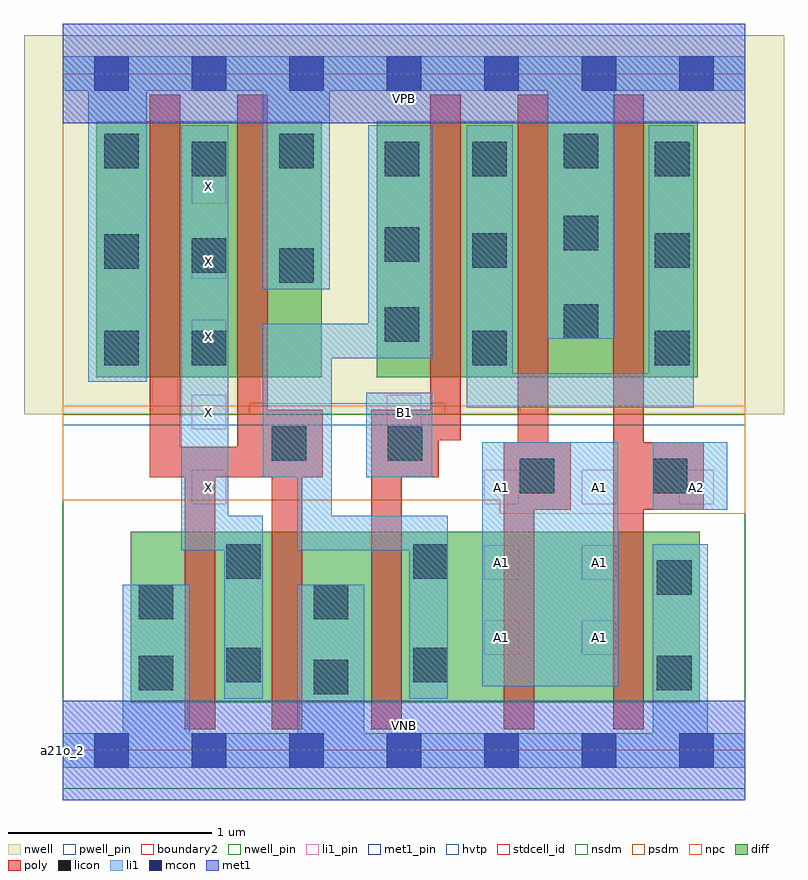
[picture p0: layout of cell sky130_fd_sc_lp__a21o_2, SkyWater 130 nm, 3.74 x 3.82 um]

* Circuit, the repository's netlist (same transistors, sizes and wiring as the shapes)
* Copyright 2020 The SkyWater PDK Authors
*
* Licensed under the Apache License, Version 2.0 (the "License");
* you may not use this file except in compliance with the License.
* You may obtain a copy of the License at
*
*     https://www.apache.org/licenses/LICENSE-2.0
*
* Unless required by applicable law or agreed to in writing, software
* distributed under the License is distributed on an "AS IS" BASIS,
* WITHOUT WARRANTIES OR CONDITIONS OF ANY KIND, either express or implied.
* See the License for the specific language governing permissions and
* limitations under the License.
*
* SPDX-License-Identifier: Apache-2.0

.SUBCKT sky130_fd_sc_lp__a21o_2 A1 A2 B1 VGND VNB VPB VPWR X
*.PININFO A1:I A2:I B1:I VGND:I VNB:I VPB:I VPWR:I X:O
MMPA0 pndA A1 VPWR VPB sky130_fd_pr__pfet_01v8_hvt m=1 w=1.26U l=0.15U mult=1 sa=0.265
+ sb=0.265 sd=0.28 area=0.063 perim=1.14
MMPA1 pndA A2 VPWR VPB sky130_fd_pr__pfet_01v8_hvt m=1 w=1.26U l=0.15U mult=1 sa=0.265
+ sb=0.265 sd=0.28 area=0.063 perim=1.14
MMPB0 y B1 pndA VPB sky130_fd_pr__pfet_01v8_hvt m=1 w=1.26U l=0.15U mult=1 sa=0.265
+ sb=0.265 sd=0.28 area=0.063 perim=1.14
MMIPX X y VPWR VPB sky130_fd_pr__pfet_01v8_hvt m=2 w=1.26U l=0.15U mult=1 sa=0.265
+ sb=0.265 sd=0.28 area=0.063 perim=1.14
MMNA0 y A1 sndA1 VNB sky130_fd_pr__nfet_01v8 m=1 w=0.84U l=0.15U mult=1 sa=0.265
+ sb=0.265 sd=0.28 area=0.063 perim=1.14
MMNA1 sndA1 A2 VGND VNB sky130_fd_pr__nfet_01v8 m=1 w=0.84U l=0.15U mult=1 sa=0.265
+ sb=0.265 sd=0.28 area=0.063 perim=1.14
MMNB0 y B1 VGND VNB sky130_fd_pr__nfet_01v8 m=1 w=0.84U l=0.15U mult=1 sa=0.265
+ sb=0.265 sd=0.28 area=0.063 perim=1.14
MMINX X y VGND VNB sky130_fd_pr__nfet_01v8 m=2 w=0.84U l=0.15U mult=1 sa=0.265
+ sb=0.265 sd=0.28 area=0.063 perim=1.14
.ENDS sky130_fd_sc_lp__a21o_2

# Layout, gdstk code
import gdstk
lib = gdstk.Library(unit=1e-6, precision=1e-09)
def R(c, l, rs):  # rectangles x0, y0, x1, y1
    for r in rs: c.add(gdstk.rectangle(r[:2], r[2:], *l))
def A(c, l, x, y, w, h, nx, ny, dx, dy):  # array of equal rectangles
    R(c, l, [(x+i*dx, y+j*dy, x+i*dx+w, y+j*dy+h) for i in range(nx) for j in range(ny)])
def P(c, l, *ps):  # polygons
    for p in ps: c.add(gdstk.Polygon(p, *l))
nwell_pin = (64, 16)
nwell = (64, 20)
diff = (65, 20)
poly = (66, 20)
licon = (66, 44)
li1_pin = (67, 16)
li1 = (67, 20)
mcon = (67, 44)
met1_pin = (68, 16)
met1 = (68, 20)
hvtp = (78, 44)
stdcell_id = (81, 4)
nsdm = (93, 44)
psdm = (94, 20)
npc = (95, 20)
pwell_pin = (122, 16)
boundary2 = (236, 0)

sky130_fd_sc_lp__a21o_2 = lib.new_cell('sky130_fd_sc_lp__a21o_2')
R(sky130_fd_sc_lp__a21o_2, nwell_pin, [(0,3.085,3.36,3.33)])
R(sky130_fd_sc_lp__a21o_2, nwell, [(-0.19,1.655,3.55,3.52)])
R(sky130_fd_sc_lp__a21o_2, diff, [(0.335,0.235,3.135,1.075), (0.165,1.835,1.275,3.095), (1.545,1.835,3.125,3.095)])
P(sky130_fd_sc_lp__a21o_2, poly, [(1.28,1.675),(1.01,1.675),(1.01,3.225),(0.86,3.225),(0.86,1.495),(0.58,1.495),(0.58,3.225),(0.43,3.225),(0.43,1.345),(0.6,1.345),(0.6,0.105),(0.75,0.105),(0.75,1.345),(1.03,1.345),(1.03,0.105),(1.18,0.105),(1.18,1.345),(1.28,1.345)],
  [(1.96,3.225),(1.81,3.225),(1.81,1.675),(1.52,1.675),(1.52,0.105),(1.67,0.105),(1.67,1.345),(1.85,1.345),(1.85,1.525),(1.96,1.525)],
  [(2.5,1.515),(2.39,1.515),(2.39,3.225),(2.24,3.225),(2.24,1.515),(2.17,1.515),(2.17,0.105),(2.32,0.105),(2.32,1.185),(2.5,1.185)],
  [(3.155,1.515),(2.86,1.515),(2.86,3.225),(2.71,3.225),(2.71,0.105),(2.86,0.105),(2.86,1.185),(3.155,1.185)])
R(sky130_fd_sc_lp__a21o_2, licon, [(1.235,0.275,1.405,0.445), (0.375,0.295,0.545,0.465), (2.925,0.295,3.095,0.465), (0.805,0.335,0.975,0.505), (1.725,0.335,1.895,0.505), (0.375,0.645,0.545,0.815), (1.235,0.645,1.405,0.815), (2.925,0.765,3.095,0.935), (0.805,0.845,0.975,1.015), (1.725,0.845,1.895,1.015), (2.25,1.265,2.42,1.435), (2.905,1.265,3.075,1.435), (1.03,1.425,1.2,1.595), (1.6,1.425,1.77,1.595), (0.205,1.895,0.375,2.065), (0.635,1.895,0.805,2.065), (2.015,1.895,2.185,2.065), (2.915,1.895,3.085,2.065), (1.585,2.01,1.755,2.18), (2.465,2.025,2.635,2.195), (1.065,2.3,1.235,2.47), (0.635,2.35,0.805,2.52), (0.205,2.37,0.375,2.54), (2.015,2.375,2.185,2.545), (2.915,2.375,3.085,2.545), (1.585,2.405,1.755,2.575), (2.465,2.46,2.635,2.63), (0.635,2.825,0.805,2.995), (1.585,2.825,1.755,2.995), (2.015,2.825,2.185,2.995), (2.915,2.825,3.085,2.995), (0.205,2.865,0.375,3.035), (1.065,2.865,1.235,3.035), (2.465,2.865,2.635,3.035)])
A(sky130_fd_sc_lp__a21o_2, li1_pin, 0.635, 1.21, 0.17, 0.17, 1, 5, 0, 0.37)
A(sky130_fd_sc_lp__a21o_2, li1_pin, 2.075, 1.21, 0.17, 0.17, 3, 1, 0.48, 0)
R(sky130_fd_sc_lp__a21o_2, li1_pin, [(2.075,0.47,2.245,0.64), (2.555,0.47,2.725,0.64), (2.075,0.84,2.245,1.01), (2.555,0.84,2.725,1.01), (1.595,1.58,1.765,1.75)])
R(sky130_fd_sc_lp__a21o_2, li1, [(2.065,0.315,2.735,1.515), (2.905,1.185,3.27,1.515), (1.495,1.345,1.82,1.76)])
P(sky130_fd_sc_lp__a21o_2, li1, [(0.985,2.27),(0.985,3.245),(0.415,3.245),(0.415,1.815),(0.125,1.815),(0.125,3.245),(0,3.245),(0,3.415),(3.36,3.415),(3.36,3.245),(2.715,3.245),(2.715,2.025),(2.385,2.025),(2.385,3.245),(1.315,3.245),(1.315,2.27)],
  [(2.905,0.085),(2.905,1.015),(3.175,1.015),(3.175,0.085),(3.36,0.085),(3.36,-0.085),(0,-0.085),(0,0.085),(0.295,0.085),(0.295,0.815),(0.625,0.815),(0.625,0.085),(1.155,0.085),(1.155,0.815),(1.485,0.815),(1.485,0.085)],
  [(0.585,0.985),(0.585,3.075),(0.815,3.075),(0.815,1.155),(0.985,1.155),(0.985,0.255),(0.795,0.255),(0.795,0.985)],
  [(2.215,1.855),(2.885,1.855),(2.885,3.075),(3.105,3.075),(3.105,1.685),(1.99,1.685),(1.99,3.075),(2.215,3.075)],
  [(0.985,2.1),(1.505,2.1),(1.505,3.075),(1.82,3.075),(1.82,1.93),(1.325,1.93),(1.325,1.155),(1.895,1.155),(1.895,0.255),(1.705,0.255),(1.705,0.985),(1.155,0.985),(1.155,1.345),(0.985,1.345)])
A(sky130_fd_sc_lp__a21o_2, mcon, 0.155, -0.085, 0.17, 0.17, 7, 2, 0.48, 3.33)
R(sky130_fd_sc_lp__a21o_2, met1_pin, [(0,0,3.36,0.245), (0,3.085,3.36,3.33)])
R(sky130_fd_sc_lp__a21o_2, met1, [(0,-0.245,3.36,0.245), (0,3.085,3.36,3.575)])
R(sky130_fd_sc_lp__a21o_2, hvtp, [(0,1.6,3.36,3.33)])
R(sky130_fd_sc_lp__a21o_2, stdcell_id, [(0,0,3.36,3.33)])
R(sky130_fd_sc_lp__a21o_2, nsdm, [(0,-0.19,3.36,1.655)])
P(sky130_fd_sc_lp__a21o_2, psdm, [(3.36,3.52),(0,3.52),(0,1.655),(0.92,1.655),(0.92,1.705),(1.88,1.705),(1.88,1.655),(3.36,1.655)])
P(sky130_fd_sc_lp__a21o_2, npc, [(3.36,1.695),(0,1.695),(0,1.23),(2.15,1.23),(2.15,1.165),(3.36,1.165)])
R(sky130_fd_sc_lp__a21o_2, pwell_pin, [(0,0,3.36,0.245)])
R(sky130_fd_sc_lp__a21o_2, boundary2, [(0,0,3.36,3.33)])
sky130_fd_sc_lp__a21o_2.add(gdstk.Label('VNB', (1.68,0.123), layer=64, texttype=59))
sky130_fd_sc_lp__a21o_2.add(gdstk.Label('VPB', (1.68,3.208), layer=64, texttype=5))
sky130_fd_sc_lp__a21o_2.add(gdstk.Label('a21o_2', (0,0), layer=83, texttype=44))
sky130_fd_sc_lp__a21o_2.add(gdstk.Label('VPWR', (1.68,3.208), layer=68, texttype=5))
sky130_fd_sc_lp__a21o_2.add(gdstk.Label('VGND', (1.68,0.123), layer=68, texttype=5))
sky130_fd_sc_lp__a21o_2.add(gdstk.Label('X', (0.72,1.295), layer=67, texttype=5))
sky130_fd_sc_lp__a21o_2.add(gdstk.Label('X', (0.72,1.665), layer=67, texttype=5))
sky130_fd_sc_lp__a21o_2.add(gdstk.Label('X', (0.72,2.035), layer=67, texttype=5))
sky130_fd_sc_lp__a21o_2.add(gdstk.Label('X', (0.72,2.405), layer=67, texttype=5))
sky130_fd_sc_lp__a21o_2.add(gdstk.Label('X', (0.72,2.775), layer=67, texttype=5))
sky130_fd_sc_lp__a21o_2.add(gdstk.Label('A1', (2.16,0.555), layer=67, texttype=5))
sky130_fd_sc_lp__a21o_2.add(gdstk.Label('A1', (2.16,0.925), layer=67, texttype=5))
sky130_fd_sc_lp__a21o_2.add(gdstk.Label('A1', (2.16,1.295), layer=67, texttype=5))
sky130_fd_sc_lp__a21o_2.add(gdstk.Label('A1', (2.64,0.555), layer=67, texttype=5))
sky130_fd_sc_lp__a21o_2.add(gdstk.Label('A1', (2.64,0.925), layer=67, texttype=5))
sky130_fd_sc_lp__a21o_2.add(gdstk.Label('A1', (2.64,1.295), layer=67, texttype=5))
sky130_fd_sc_lp__a21o_2.add(gdstk.Label('A2', (3.12,1.295), layer=67, texttype=5))
sky130_fd_sc_lp__a21o_2.add(gdstk.Label('B1', (1.68,1.665), layer=67, texttype=5))

lib.write_gds('sky130_fd_sc_lp__a21o_2.gds')
